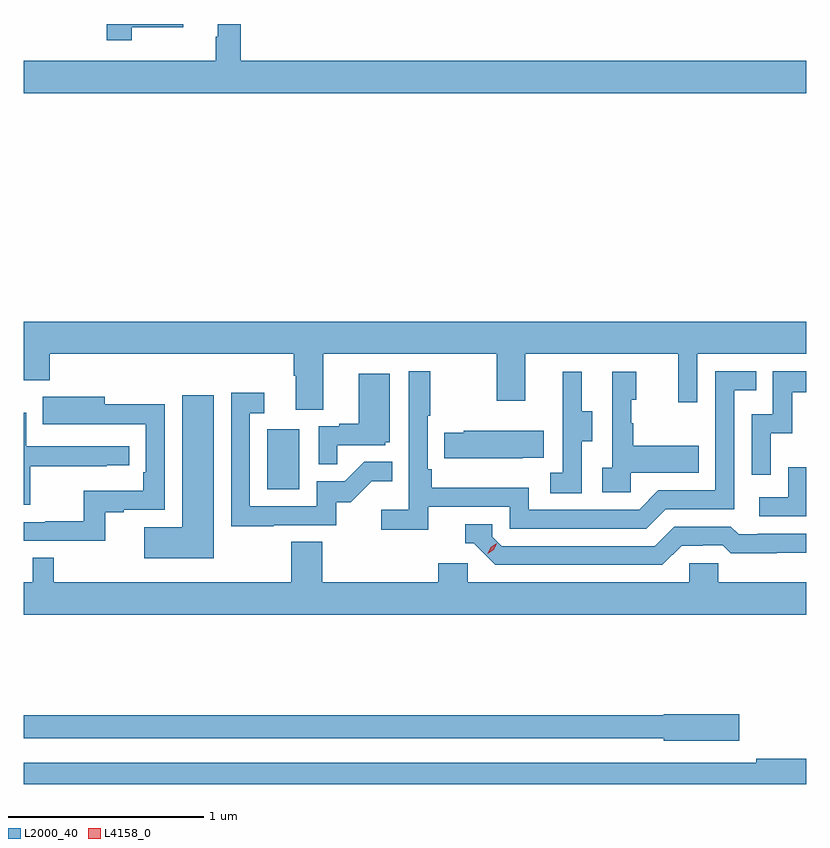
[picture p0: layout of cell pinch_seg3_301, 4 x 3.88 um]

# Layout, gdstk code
import gdstk
lib = gdstk.Library(unit=1e-6, precision=1e-09)
def R(c, l, rs):  # rectangles x0, y0, x1, y1
    for r in rs: c.add(gdstk.rectangle(r[:2], r[2:], *l))
def P(c, l, *ps):  # polygons
    for p in ps: c.add(gdstk.Polygon(p, *l))
L2000_40 = (2000, 40)
L4158_0 = (4158, 0)

pinch_seg3_301 = lib.new_cell('pinch_seg3_301')
R(pinch_seg3_301, L2000_40, [(969.848,714.876,970.012,715.183)])
P(pinch_seg3_301, L2000_40, [(972.603,717.064),(969.713,717.064),(969.713,717.253),(969.596,717.253),(969.596,717.188),(969.585,717.188),(969.585,717.064),(968.603,717.064),(968.603,716.9),(972.603,716.9)],
  [(969.157,717.236),(969.418,717.236),(969.418,717.253),(969.028,717.253),(969.028,717.171),(969.157,717.171)],
  [(970.135,715.568),(971.02,715.568),(971.02,715.329),(971.167,715.329),(971.167,715.568),(971.948,715.568),(971.948,715.32),(972.045,715.32),(972.045,715.568),(972.603,715.568),(972.603,715.732),(968.603,715.732),(968.603,715.433),(968.738,715.433),(968.738,715.568),(969.983,715.568),(969.983,715.456),(969.995,715.456),(969.995,715.282),(970.135,715.282)],
  [(970.67,714.786),(971.088,714.786),(971.088,714.675),(971.785,714.675),(971.884,714.774),(972.234,714.774),(972.234,715.383),(972.347,715.383),(972.347,715.479),(972.138,715.479),(972.138,714.87),(971.847,714.87),(971.748,714.771),(971.184,714.771),(971.184,714.883),(970.688,714.883),(970.688,714.979),(970.668,714.979),(970.668,715.252),(970.681,715.252),(970.681,715.48),(970.572,715.48),(970.572,714.772),(970.431,714.772),(970.431,714.67),(970.67,714.67)],
  [(972.42,715.163),(972.53,715.163),(972.53,715.371),(972.603,715.371),(972.603,715.479),(972.432,715.479),(972.432,715.26),(972.324,715.26),(972.324,714.951),(972.42,714.951)],
  [(971.706,714.959),(972.053,714.959),(972.053,715.099),(971.719,715.099),(971.719,715.214),(971.709,715.214),(971.709,715.332),(971.734,715.332),(971.734,715.477),(971.61,715.477),(971.61,714.986),(971.559,714.986),(971.559,714.861),(971.706,714.861)],
  [(971.454,715.12),(971.509,715.12),(971.509,715.275),(971.455,715.275),(971.455,715.477),(971.357,715.477),(971.357,715.263),(971.358,715.263),(971.358,714.959),(971.295,714.959),(971.295,714.856),(971.454,714.856)],
  [(970.205,715.101),(970.452,715.101),(970.452,715.116),(970.474,715.116),(970.474,715.465),(970.316,715.465),(970.316,715.21),(970.217,715.21),(970.217,715.197),(970.11,715.197),(970.11,715.003),(970.205,715.003)],
  [(969.881,714.693),(970.2,714.693),(970.2,714.81),(970.276,714.81),(970.383,714.917),(970.487,714.917),(970.487,715.016),(970.343,715.016),(970.245,714.918),(970.101,714.918),(970.101,714.789),(969.759,714.789),(969.759,715.263),(969.832,715.263),(969.832,715.369),(969.663,715.369),(969.663,714.688),(969.881,714.688)],
  [(969.574,715.357),(969.413,715.357),(969.413,714.682),(969.219,714.682),(969.219,714.524),(969.574,714.524)],
  [(969.02,714.759),(969.115,714.759),(969.115,714.771),(969.324,714.771),(969.324,715.31),(969.019,715.31),(969.019,715.348),(968.701,715.348),(968.701,715.208),(968.915,715.208),(968.915,715.209),(969.228,715.209),(969.228,714.964),(969.215,714.964),(969.215,714.868),(968.91,714.868),(968.91,714.713),(968.713,714.713),(968.713,714.708),(968.603,714.708),(968.603,714.612),(969.02,714.612)],
  [(968.636,714.994),(969.029,714.994),(969.029,714.999),(969.142,714.999),(969.142,715.095),(968.616,715.095),(968.616,715.267),(968.603,715.267),(968.603,714.798),(968.636,714.798)],
  [(971.153,715.037),(971.261,715.037),(971.261,715.174),(970.851,715.174),(970.851,715.164),(970.753,715.164),(970.753,715.034),(971.153,715.034)],
  [(972.603,714.988),(972.51,714.988),(972.51,714.834),(972.363,714.834),(972.363,714.738),(972.603,714.738)],
  [(971.965,714.588),(972.072,714.588),(972.072,714.591),(972.175,714.591),(972.217,714.549),(972.45,714.549),(972.45,714.551),(972.603,714.551),(972.603,714.648),(972.355,714.648),(972.355,714.645),(972.256,714.645),(972.217,714.684),(971.928,714.684),(971.829,714.585),(971.046,714.585),(970.998,714.633),(970.998,714.696),(970.859,714.696),(970.859,714.6),(970.902,714.6),(971.013,714.489),(971.866,714.489)],
  [(972.603,714.4),(972.153,714.4),(972.153,714.498),(972.003,714.498),(972.003,714.4),(970.872,714.4),(970.872,714.498),(970.721,714.498),(970.721,714.4),(970.13,714.4),(970.13,714.608),(969.97,714.608),(969.97,714.4),(968.758,714.4),(968.758,714.527),(968.649,714.527),(968.649,714.4),(968.603,714.4),(968.603,714.236),(972.603,714.236)],
  [(972.259,713.726),(971.874,713.726),(971.874,713.72),(968.603,713.72),(968.603,713.604),(971.874,713.604),(971.874,713.591),(972.259,713.591)],
  [(972.603,713.498),(972.346,713.498),(972.346,713.478),(968.603,713.478),(968.603,713.37),(972.603,713.37)])
P(pinch_seg3_301, L4158_0, [(970.974,714.547),(970.974,714.548),(970.99,714.58),(971.021,714.6),(971.021,714.6),(971.021,714.6),(971.005,714.567),(970.974,714.547)])

lib.write_gds('pinch_seg3_301.gds')
